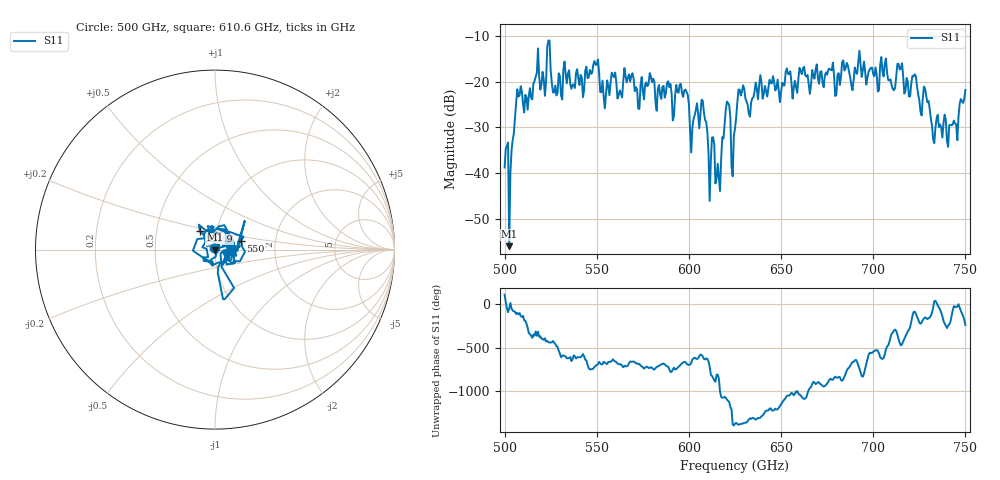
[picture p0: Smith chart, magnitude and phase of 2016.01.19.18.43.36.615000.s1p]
!Created with skrf (http://scikit-rf.org).
# GHz S RI R 50.0
!freq ReS11 ImS11
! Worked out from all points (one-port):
!   401 points, 500 GHz to 750 GHz, reference 50 ohm
!   lowest |S11| = -55.9 dB at 502.5 GHz (marker M1), VSWR 1.00, Z = 50.1 - j0.116 ohm
!   |S11| at or under -10 dB: start of sweep to end of sweep
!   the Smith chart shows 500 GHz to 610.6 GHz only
!   S11 on the Smith chart (normalised r, x): 500 GHz: 0.99, +0.02; 531.9 GHz: 0.83, +0.17; 550 GHz: 1.33, +0.14; 610.6 GHz: 1.02, +0.03
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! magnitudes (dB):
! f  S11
! 500 GHz  -38.8
! 502.5 GHz  -55.9
! 508.1 GHz  -23.0
! 520.6 GHz  -17.9
! 523.8 GHz  -11.0
! 526.9 GHz  -22.4
! 531.2 GHz  -23.9
! 531.9 GHz  -17.5
! 550 GHz  -16.3
! 553.1 GHz  -19.8
! 562.5 GHz  -22.0
! 593.8 GHz  -22.2
! 598.8 GHz  -22.3
! 601.9 GHz  -30.0
! 608.1 GHz  -26.7
! 610.6 GHz  -35.6
! 615.6 GHz  -37.9
! 620.6 GHz  -24.4
! 623.8 GHz  -40.7
! 625 GHz  -30.3
! 628.1 GHz  -23.1
! 656.2 GHz  -23.7
! 687.5 GHz  -19.0
! 710.6 GHz  -21.6
! 714.4 GHz  -17.3
! 718.8 GHz  -20.0
! 741.2 GHz  -29.5
! 750 GHz  -21.8
